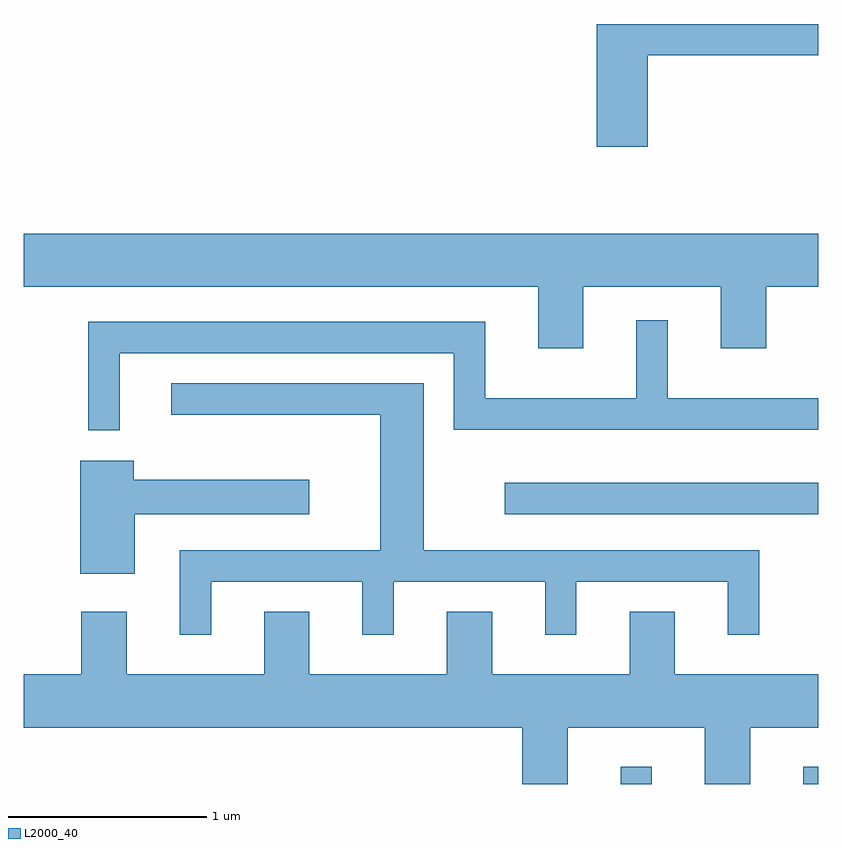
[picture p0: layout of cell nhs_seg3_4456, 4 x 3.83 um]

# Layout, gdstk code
import gdstk
lib = gdstk.Library(unit=1e-6, precision=1e-09)
def R(c, l, rs):  # rectangles x0, y0, x1, y1
    for r in rs: c.add(gdstk.rectangle(r[:2], r[2:], *l))
def P(c, l, *ps):  # polygons
    for p in ps: c.add(gdstk.Polygon(p, *l))
L2000_40 = (2000, 40)

nhs_seg3_4456 = lib.new_cell('nhs_seg3_4456')
R(nhs_seg3_4456, L2000_40, [(318.616,1187.892,318.774,1187.978), (319.536,1187.892,319.611,1187.978), (318.033,1189.251,319.611,1189.409)])
P(nhs_seg3_4456, L2000_40, [(318.754,1191.561),(319.611,1191.561),(319.611,1191.719),(318.496,1191.719),(318.496,1191.101),(318.754,1191.101)],
  [(318.429,1190.396),(319.121,1190.396),(319.121,1190.086),(319.349,1190.086),(319.349,1190.396),(319.611,1190.396),(319.611,1190.664),(315.611,1190.664),(315.611,1190.396),(318.201,1190.396),(318.201,1190.086),(318.429,1190.086)],
  [(316.094,1190.061),(317.776,1190.061),(317.776,1189.676),(319.611,1189.676),(319.611,1189.834),(318.854,1189.834),(318.854,1190.228),(318.696,1190.228),(318.696,1189.834),(317.934,1189.834),(317.934,1190.219),(315.936,1190.219),(315.936,1189.673),(316.094,1189.673)],
  [(316.554,1188.911),(317.316,1188.911),(317.316,1188.643),(317.474,1188.643),(317.474,1188.911),(318.236,1188.911),(318.236,1188.643),(318.394,1188.643),(318.394,1188.911),(319.156,1188.911),(319.156,1188.643),(319.314,1188.643),(319.314,1189.069),(317.624,1189.069),(317.624,1189.909),(316.353,1189.909),(316.353,1189.751),(317.406,1189.751),(317.406,1189.069),(316.396,1189.069),(316.396,1188.643),(316.554,1188.643)],
  [(316.169,1189.251),(317.049,1189.251),(317.049,1189.424),(316.164,1189.424),(316.164,1189.519),(315.896,1189.519),(315.896,1188.951),(316.169,1188.951)],
  [(318.349,1188.176),(319.041,1188.176),(319.041,1187.892),(319.269,1187.892),(319.269,1188.176),(319.611,1188.176),(319.611,1188.444),(318.889,1188.444),(318.889,1188.759),(318.661,1188.759),(318.661,1188.444),(317.969,1188.444),(317.969,1188.759),(317.741,1188.759),(317.741,1188.444),(317.049,1188.444),(317.049,1188.759),(316.821,1188.759),(316.821,1188.444),(316.129,1188.444),(316.129,1188.759),(315.901,1188.759),(315.901,1188.444),(315.611,1188.444),(315.611,1188.176),(318.121,1188.176),(318.121,1187.892),(318.349,1187.892)])

lib.write_gds('nhs_seg3_4456.gds')
